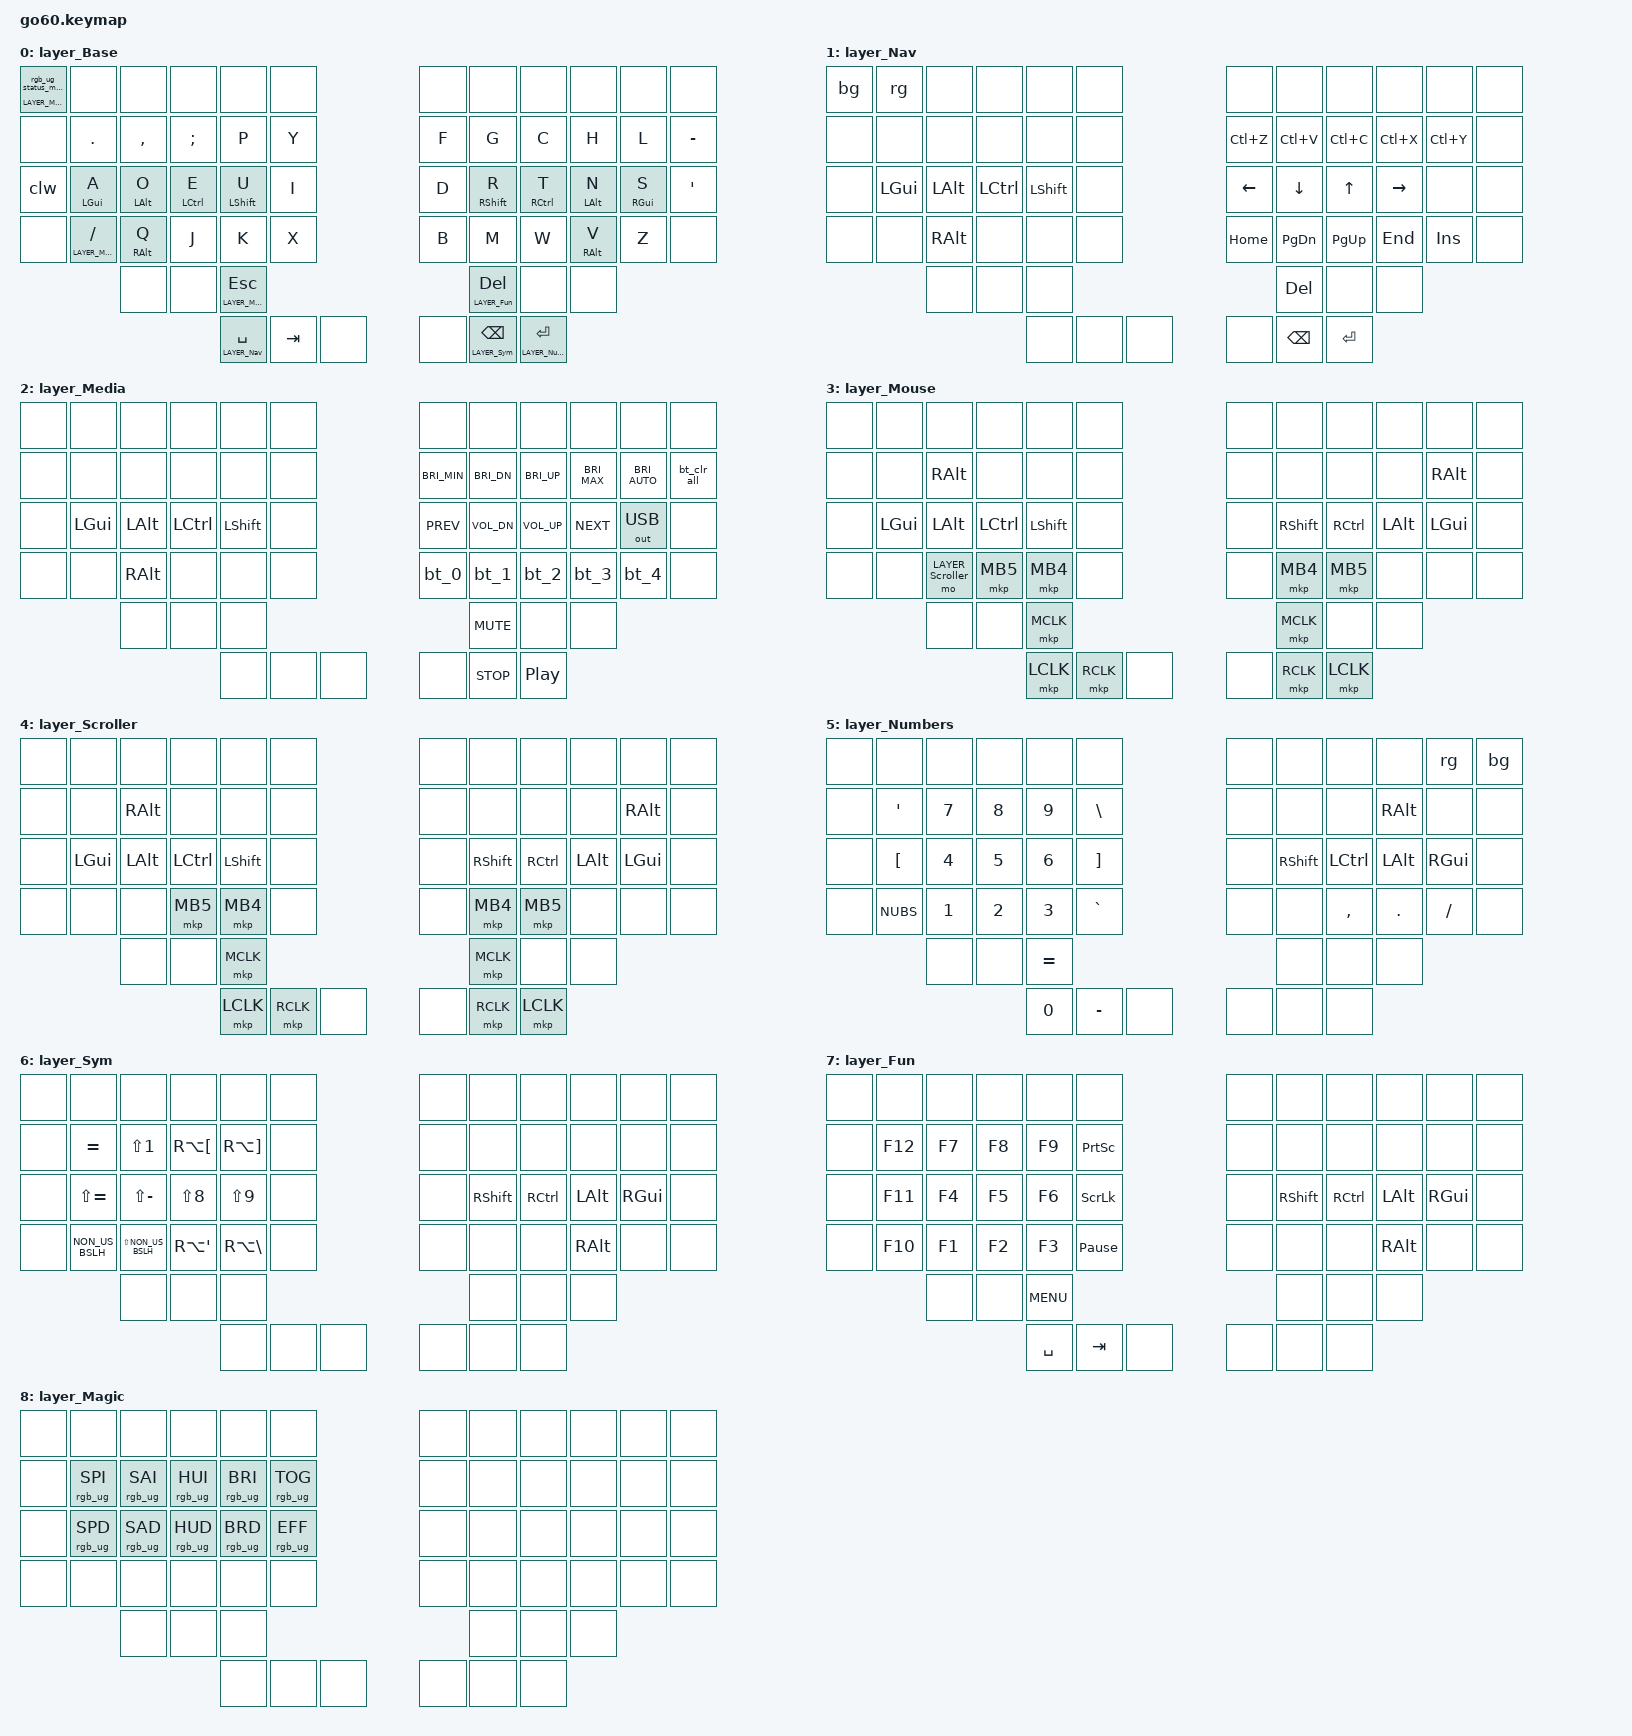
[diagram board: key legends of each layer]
/*
 * Copyright (c) 2020 The ZMK Contributors
 *
 * SPDX-License-Identifier: MIT
 */

#include <behaviors.dtsi>

#include <dt-bindings/zmk/bt.h>
#include <dt-bindings/zmk/ext_power.h>
#include <dt-bindings/zmk/keys.h>
#include <dt-bindings/zmk/outputs.h>
#include <dt-bindings/zmk/rgb.h>
#include <dt-bindings/zmk/input_transform.h>
#include <dt-bindings/zmk/pointing.h>

#include <input/processors.dtsi>
#include <zephyr/dt-bindings/input/input-event-codes.h>

// layers
#define LAYER_Base 0
#define LAYER_Nav 1
#define LAYER_Media 2
#define LAYER_Mouse 3
#define LAYER_Scroller 4
#define LAYER_Numbers 5
#define LAYER_Sym 6
#define LAYER_Fun 7
#define LAYER_Magic 8

&caps_word {
        continue-list = <BACKSPACE DELETE SLASH SEMI>;
};

/ {
    input_processors {
        zip_click_to_right_click_mapper: zip_click_to_right_click_mapper {
            compatible = "zmk,input-processor-code-mapper";
            #input-processor-cells = <0>;
            type = <INPUT_EV_KEY>;
            map = <INPUT_BTN_0 INPUT_BTN_1>;
        };
    };

    behaviors {
        hm: hm {
            compatible = "zmk,behavior-hold-tap";
            #binding-cells = <2>;
            tapping-term-ms = <200>;
            bindings = <&kp>, <&kp>;
            flavor = "tap-preferred";
            quick-tap-ms = <200>;
            require-prior-idle-ms = <150>;
        };
        hml: hml {
            compatible = "zmk,behavior-hold-tap";
            #binding-cells = <2>;
            tapping-term-ms = <200>;
            bindings = <&mo>, <&kp>;
            flavor = "tap-preferred";
            quick-tap-ms = <200>;
            require-prior-idle-ms = <150>;
        };
        ltq: ltq {
            compatible = "zmk,behavior-hold-tap";
            #binding-cells = <2>;
            tapping-term-ms = <150>;
            bindings = <&mo>, <&kp>;
            quick-tap-ms = <200>;
            require-prior-idle-ms = <0>;
        };
        clw: caps_lock_word {
            compatible = "zmk,behavior-mod-morph";
            #binding-cells = <0>;
            bindings = <&kp CAPSLOCK>, <&caps_word>;
            mods = <(MOD_LSFT|MOD_RSFT)>;
        };
        bt_clr_all: bluetooth_clear_all {
            compatible = "zmk,behavior-tap-dance";
            label = "Bluetooth Clear/Clear all";
            #binding-cells = <0>;
            tapping-term-ms = <200>;
            bindings = <&bt BT_CLR>, <&bt BT_CLR_ALL>;
        };
        rg: reset_guarded {
            compatible = "zmk,behavior-tap-dance";
            label = "Reset guarded";
            #binding-cells = <0>;
            tapping-term-ms = <200>;
            bindings = <&none>, <&sys_reset>;
        };
        bg: bootloader_guarded {
            compatible = "zmk,behavior-tap-dance";
            label = "Reset guarded";
            #binding-cells = <0>;
            tapping-term-ms = <200>;
            bindings = <&none>, <&bootloader>;
        };
        magic: magic {
            compatible = "zmk,behavior-hold-tap";
            #binding-cells = <2>;
            flavor = "tap-preferred";
            tapping-term-ms = <200>;
            bindings = <&mo>, <&rgb_ug_status_macro>;
        };
        bt_0: bt_0 {
            compatible = "zmk,behavior-tap-dance";
            #binding-cells = <0>;
            tapping-term-ms = <200>;
            bindings = <&bt_select_0>, <&bt BT_DISC 0>;
        };
        bt_1: bt_1 {
            compatible = "zmk,behavior-tap-dance";
            #binding-cells = <0>;
            tapping-term-ms = <200>;
            bindings = <&bt_select_1>, <&bt BT_DISC 1>;
        };
        bt_2: bt_2 {
            compatible = "zmk,behavior-tap-dance";
            #binding-cells = <0>;
            tapping-term-ms = <200>;
            bindings = <&bt_select_2>, <&bt BT_DISC 2>;
        };
        bt_3: bt_3 {
            compatible = "zmk,behavior-tap-dance";
            #binding-cells = <0>;
            tapping-term-ms = <200>;
            bindings = <&bt_select_3>, <&bt BT_DISC 3>;
        };
        bt_4: bt_4 {
            compatible = "zmk,behavior-tap-dance";
            #binding-cells = <0>;
            tapping-term-ms = <200>;
            bindings = <&bt_select_4>, <&bt BT_DISC 4>;
        };
    };

    macros {
        rgb_ug_status_macro: rgb_ug_status_macro {
            compatible = "zmk,behavior-macro";
            #binding-cells = <0>;
            bindings = <&rgb_ug RGB_STATUS>;
        };
        bt_select_0: bt_select_0 {
            compatible = "zmk,behavior-macro";
            #binding-cells = <0>;
            bindings
                = <&out OUT_BLE>,
                  <&bt BT_SEL 0>;
        };
        bt_select_1: bt_select_1 {
            compatible = "zmk,behavior-macro";
            #binding-cells = <0>;
            bindings
                = <&out OUT_BLE>,
                  <&bt BT_SEL 1>;
        };
        bt_select_2: bt_select_2 {
            compatible = "zmk,behavior-macro";
            #binding-cells = <0>;
            bindings
                = <&out OUT_BLE>,
                  <&bt BT_SEL 2>;
        };
        bt_select_3: bt_select_3 {
            compatible = "zmk,behavior-macro";
            #binding-cells = <0>;
            bindings
                = <&out OUT_BLE>,
                  <&bt BT_SEL 3>;
        };
        bt_select_4: bt_select_4 {
            compatible = "zmk,behavior-macro";
            #binding-cells = <0>;
            bindings
                = <&out OUT_BLE>,
                  <&bt BT_SEL 4>;
        };
    };

    keymap {
        compatible = "zmk,keymap";
        layer_Base {
            bindings = <
                &magic LAYER_Magic 0    &none                   &none       &none       &none                   &none                                                   &none                   &none               &none       &none       &none       &none
                &none                   &kp DOT                 &kp COMMA   &kp SEMI    &kp P                   &kp Y                                                   &kp F                   &kp G               &kp C       &kp H       &kp L       &kp MINUS
                &clw                    &hm LGUI A              &hm LALT O  &hm LCTRL E &hm LSHFT U             &kp I                                                   &kp D                   &hm RSHFT R         &hm RCTRL T &hm LALT N  &hm RGUI S  &kp SQT
                &none                   &hml LAYER_Mouse FSLH   &hm RALT Q  &kp J       &kp K                   &kp X                                                   &kp B                   &kp M               &kp W       &hm RALT V  &kp Z       &none
                                                                &none       &none       &ltq LAYER_Media ESC                                                                                    &ltq LAYER_Fun DEL  &none       &none
                                                                                                    &ltq LAYER_Nav SPACE    &kp TAB &none   &none   &ltq LAYER_Sym BSPC &ltq LAYER_Numbers RET
            >;
        };

        layer_Nav {
            bindings = <
                &bg     &rg         &none       &none       &none       &none                                       &none       &none       &none       &none       &none       &none
                &none   &none       &none       &none       &none       &none                                       &kp LC(Z)   &kp LC(V)   &kp LC(C)   &kp LC(X)   &kp LC(Y)   &none
                &none   &kp LGUI    &kp LALT    &kp LCTRL   &kp LSHFT   &none                                       &kp LEFT    &kp DOWN    &kp UP      &kp RIGHT   &none       &none
                &none   &none       &kp RALT    &none       &none       &none                                       &kp HOME    &kp PG_DN   &kp PG_UP   &kp END     &kp INS     &none
                                    &none       &none       &none                                                               &kp DEL     &none       &none
                                                                        &none   &none   &none   &none   &kp BSPC    &kp RET
            >;
        };

        layer_Media {
            bindings = <
                &none   &none       &none       &none       &none       &none                                       &none           &none           &none           &none           &none           &none
                &none   &none       &none       &none       &none       &none                                       &kp C_BRI_MIN   &kp C_BRI_DN    &kp C_BRI_UP    &kp C_BRI_MAX   &kp C_BRI_AUTO  &bt_clr_all
                &none   &kp LGUI    &kp LALT    &kp LCTRL   &kp LSHFT   &none                                       &kp C_PREV      &kp C_VOL_DN    &kp C_VOL_UP    &kp C_NEXT      &out OUT_USB    &none
                &none   &none       &kp RALT    &none       &none       &none                                       &bt_0           &bt_1           &bt_2           &bt_3           &bt_4           &none
                                    &none       &none       &none                                                                   &kp C_MUTE      &none           &none
                                                                        &none   &none   &none   &none   &kp C_STOP  &kp C_PP
            >;
        };

        layer_Mouse {
            bindings = <
                &none   &none       &none               &none       &none       &none                                               &none       &none       &none       &none       &none       &none
                &none   &none       &kp RALT            &none       &none       &none                                               &none       &none       &none       &none       &kp RALT    &none
                &none   &kp LGUI    &kp LALT            &kp LCTRL   &kp LSHFT   &none                                               &none       &kp RSHFT   &kp RCTRL   &kp LALT    &kp LGUI    &none
                &none   &none       &mo LAYER_Scroller  &mkp MB5    &mkp MB4    &none                                               &none       &mkp MB4    &mkp MB5    &none       &none       &none
                                    &none               &none       &mkp MCLK                                                                   &mkp MCLK   &none       &none
                                                                                &mkp LCLK   &mkp RCLK   &none   &none   &mkp RCLK   &mkp LCLK
            >;
        };

        layer_Scroller {
            bindings = <
                &none   &none       &none       &none       &none       &none                                               &none       &none       &none       &none       &none       &none
                &none   &none       &kp RALT    &none       &none       &none                                               &none       &none       &none       &none       &kp RALT    &none
                &none   &kp LGUI    &kp LALT    &kp LCTRL   &kp LSHFT   &none                                               &none       &kp RSHFT   &kp RCTRL   &kp LALT    &kp LGUI    &none
                &none   &none       &none       &mkp MB5    &mkp MB4    &none                                               &none       &mkp MB4    &mkp MB5    &none       &none       &none
                                    &none       &none       &mkp MCLK                                                                   &mkp MCLK   &none       &none
                                                                        &mkp LCLK   &mkp RCLK   &none   &none   &mkp RCLK   &mkp LCLK
            >;
        };

        layer_Numbers {
            bindings = <
                &none   &none       &none   &none  &none     &none                                          &none   &none       &none       &none       &rg         &bg
                &none   &kp SQT     &kp N7  &kp N8 &kp N9    &kp BSLH                                       &none   &none       &none       &kp RALT    &none       &none
                &none   &kp LBKT    &kp N4  &kp N5 &kp N6    &kp RBKT                                       &none   &kp RSHFT   &kp LCTRL   &kp LALT    &kp RGUI    &none
                &none   &kp NUBS    &kp N1  &kp N2 &kp N3    &kp GRAVE                                      &none   &none       &kp COMMA   &kp DOT     &kp FSLH    &none
                                    &none   &none  &kp EQUAL                                                        &none       &none       &none
                                                             &kp N0     &kp MINUS   &none   &none   &none   &none
            >;
        };

        layer_Sym {
            bindings = <
                &none   &none           &none               &none           &none           &none                                   &none   &none       &none       &none       &none       &none
                &none   &kp EQUAL       &kp LS(N1)          &kp RA(LBKT)    &kp RA(RBKT)    &none                                   &none   &none       &none       &none       &none       &none
                &none   &kp LS(EQUAL)   &kp LS(MINUS)       &kp LS(N8)      &kp LS(N9)      &none                                   &none   &kp RSHFT   &kp RCTRL   &kp LALT    &kp RGUI    &none
                &none   &kp NON_US_BSLH &kp LS(NON_US_BSLH) &kp RA(SQT)     &kp RA(BSLH)    &none                                   &none   &none       &none       &kp RALT    &none       &none
                                        &none               &none           &none                                                           &none       &none       &none
                                                                                            &none   &none   &none   &none   &none   &none
            >;
        };

        layer_Fun {
            bindings = <
                &none   &none   &none   &none   &none       &none                                             &none &none       &none       &none       &none       &none
                &none   &kp F12 &kp F7  &kp F8  &kp F9      &kp PSCRN                                         &none &none       &none       &none       &none       &none
                &none   &kp F11 &kp F4  &kp F5  &kp F6      &kp SLCK                                          &none &kp RSHFT   &kp RCTRL   &kp LALT    &kp RGUI    &none
                &none   &kp F10 &kp F1  &kp F2  &kp F3      &kp PAUSE_BREAK                                   &none &none       &none       &kp RALT    &none       &none
                                &none   &none   &kp K_MENU                                                          &none       &none       &none
                                                            &kp SPACE       &kp TAB   &none   &none   &none   &none
            >;
        };

        layer_Magic {
            bindings = <
                &none   &none           &none           &none           &none           &none                                               &none   &none   &none   &none   &none   &none         
                &none   &rgb_ug RGB_SPI &rgb_ug RGB_SAI &rgb_ug RGB_HUI &rgb_ug RGB_BRI &rgb_ug RGB_TOG                                     &none   &none   &none   &none   &none   &none      
                &none   &rgb_ug RGB_SPD &rgb_ug RGB_SAD &rgb_ug RGB_HUD &rgb_ug RGB_BRD &rgb_ug RGB_EFF                                     &none   &none   &none   &none   &none   &none     
                &none   &none           &none           &none           &none           &none                                               &none   &none   &none   &none   &none   &none
                                        &none           &none           &none                                                                       &none   &none   &none
                                                                                        &none           &none   &none   &none   &none       &none
            >;
        };
    };
};

&cirque_rh_listener {
    scroller {
        layers = <LAYER_Nav LAYER_Scroller>;
        input-processors = <&zip_xy_to_scroll_mapper>,
                           <&zip_scroll_transform(INPUT_TRANSFORM_Y_INVERT)>,
                           <&zip_scroll_scaler 1 4>,
                           <&zip_click_to_right_click_mapper>;
    };
};

&cirque_lh_listener {
    input-processors = <&zip_xy_scaler 0 8>,
                       <&zip_click_to_right_click_mapper>;
};
